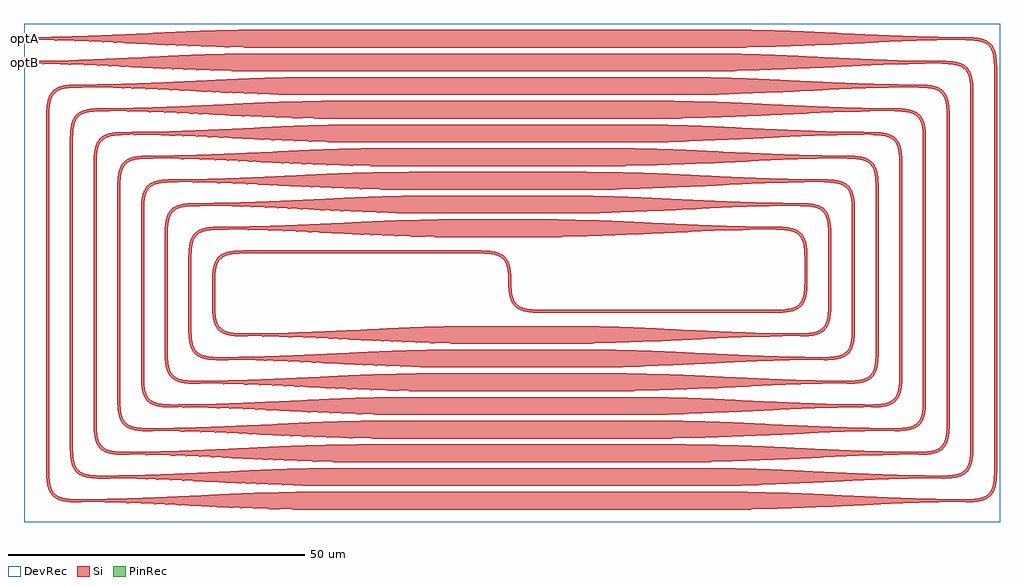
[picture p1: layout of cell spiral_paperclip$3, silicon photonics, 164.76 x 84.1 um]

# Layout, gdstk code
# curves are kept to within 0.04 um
import gdstk
lib = gdstk.Library(unit=1e-6, precision=1e-09)
def R(c, l, rs):  # rectangles x0, y0, x1, y1
    for r in rs: c.add(gdstk.rectangle(r[:2], r[2:], *l))
def P(c, l, *ps):  # polygons
    for p in ps: c.add(gdstk.Polygon(p, *l))
Si = (1, 0)
PinRec = (1, 10)
DevRec = (68, 0)

spiral_paperclip_3 = lib.new_cell('spiral_paperclip$3')
R(spiral_paperclip_3, Si, [(-33,-38.5,37,-35.5), (-29,-34.5,33,-31.5), (-25,-30.5,29,-27.5), (-21,-26.5,25,-23.5), (-17,-22.5,21,-19.5), (-13,-18.5,17,-15.5), (-9,-14.5,13,-11.5), (-5,-10.5,9,-7.5), (-9,7.5,5,10.5), (-13,11.5,9,14.5), (-17,15.5,13,18.5), (-21,19.5,17,22.5), (-25,23.5,21,26.5), (-29,27.5,25,30.5), (-33,31.5,29,34.5), (-42,35.5,33,38.5), (-42,39.5,37,42.5)])
P(spiral_paperclip_3, Si, [(73,-33.25),(73,-32.75),(74.386,-32.696),(75.48,-32.521),(76.304,-32.209),(76.897,-31.746),(77.314,-31.093),(77.555,-30.341),(77.712,-29.206),(77.75,-28),(77.711,33.207),(77.584,34.197),(77.405,34.865),(77.093,35.494),(76.667,35.966),(76.093,36.314),(75.341,36.555),(74.206,36.712),(73,36.75),(73,37.25),(74.431,37.195),(75.603,37.006),(76.543,36.648),(77.177,36.177),(77.647,35.544),(78.005,34.604),(78.194,33.432),(78.25,32),(78.25,-28),(78.195,-29.431),(78.043,-30.449),(77.77,-31.297),(77.433,-31.88),(76.881,-32.432),(76.298,-32.769),(75.45,-33.042),(74.432,-33.194)],
  [(-69,-33.25),(-70.431,-33.195),(-71.603,-33.006),(-72.543,-32.648),(-73.177,-32.177),(-73.647,-31.544),(-74.005,-30.604),(-74.194,-29.432),(-74.25,-28),(-74.25,24),(-74.195,25.431),(-74.043,26.449),(-73.77,27.297),(-73.433,27.88),(-72.881,28.432),(-72.298,28.769),(-71.45,29.042),(-70.432,29.194),(-69,29.25),(-69,28.75),(-70.386,28.696),(-71.48,28.521),(-72.304,28.209),(-72.897,27.746),(-73.314,27.093),(-73.555,26.341),(-73.712,25.206),(-73.75,24),(-73.711,-29.207),(-73.584,-30.197),(-73.405,-30.865),(-73.093,-31.494),(-72.667,-31.966),(-72.093,-32.314),(-71.341,-32.555),(-70.206,-32.712),(-69,-32.75)],
  [(65,-25.25),(65,-24.75),(66.386,-24.696),(67.48,-24.521),(68.304,-24.209),(68.897,-23.746),(69.314,-23.093),(69.555,-22.341),(69.712,-21.206),(69.75,-20),(69.75,24),(69.696,25.386),(69.554,26.342),(69.36,26.982),(69.093,27.494),(68.667,27.966),(68.093,28.314),(67.341,28.555),(66.206,28.712),(65,28.75),(65,29.25),(66.431,29.195),(67.603,29.006),(68.543,28.648),(69.177,28.177),(69.647,27.544),(70.005,26.604),(70.194,25.432),(70.25,24),(70.25,-20),(70.177,-21.613),(70.006,-22.603),(69.711,-23.422),(69.267,-24.082),(68.772,-24.509),(68.168,-24.824),(67.293,-25.074),(66.243,-25.209)],
  [(-61,-25.25),(-62.431,-25.195),(-63.603,-25.006),(-64.543,-24.648),(-65.177,-24.177),(-65.647,-23.544),(-66.005,-22.604),(-66.194,-21.432),(-66.25,-20),(-66.25,16),(-66.156,17.79),(-65.966,18.75),(-65.711,19.422),(-65.267,20.082),(-64.772,20.509),(-64.168,20.824),(-63.293,21.074),(-62.243,21.209),(-61,21.25),(-61,20.75),(-62.386,20.696),(-63.48,20.521),(-64.304,20.209),(-64.897,19.746),(-65.314,19.093),(-65.555,18.341),(-65.712,17.206),(-65.75,16),(-65.75,-20),(-65.659,-21.729),(-65.521,-22.48),(-65.313,-23.094),(-64.965,-23.668),(-64.582,-24.031),(-63.981,-24.361),(-63.196,-24.585),(-62.206,-24.712),(-61,-24.75)],
  [(57,-17.25),(57,-16.75),(58.386,-16.696),(59.48,-16.521),(60.304,-16.209),(60.897,-15.746),(61.314,-15.093),(61.555,-14.341),(61.712,-13.206),(61.75,-12),(61.75,16),(61.637,17.89),(61.485,18.613),(61.262,19.201),(60.965,19.668),(60.582,20.031),(59.981,20.361),(59.196,20.585),(58.206,20.712),(57,20.75),(57,21.25),(58.431,21.195),(59.603,21.006),(60.543,20.648),(61.177,20.177),(61.647,19.544),(62.005,18.604),(62.194,17.432),(62.25,16),(62.25,-12),(62.132,-13.963),(61.923,-14.893),(61.648,-15.543),(61.267,-16.082),(60.772,-16.509),(60.168,-16.824),(59.293,-17.074),(58.243,-17.209)],
  [(-53,-17.25),(-54.431,-17.195),(-55.603,-17.006),(-56.543,-16.648),(-57.177,-16.177),(-57.647,-15.544),(-58.005,-14.604),(-58.194,-13.432),(-58.25,-12),(-58.249,8.221),(-58.195,9.431),(-58.043,10.449),(-57.825,11.167),(-57.51,11.771),(-57.083,12.266),(-56.544,12.647),(-55.894,12.922),(-55.131,13.104),(-54.243,13.209),(-53,13.25),(-53,12.75),(-54.386,12.696),(-55.48,12.521),(-56.304,12.209),(-56.897,11.746),(-57.314,11.093),(-57.555,10.341),(-57.712,9.206),(-57.75,8),(-57.75,-12),(-57.711,-13.207),(-57.584,-14.197),(-57.405,-14.865),(-57.209,-15.304),(-56.896,-15.747),(-56.493,-16.094),(-55.864,-16.406),(-55.196,-16.585),(-54.206,-16.712),(-53,-16.75)],
  [(49,-9.25),(49,-8.75),(50.386,-8.696),(51.48,-8.521),(52.304,-8.209),(52.823,-7.823),(53.21,-7.303),(53.486,-6.612),(53.66,-5.728),(53.741,-4.631),(53.748,8.217),(53.696,9.386),(53.554,10.342),(53.36,10.982),(53.093,11.494),(52.746,11.897),(52.303,12.21),(51.741,12.447),(51.044,12.613),(50.206,12.712),(49,12.75),(49,13.25),(49.647,13.241),(50.613,13.177),(51.449,13.043),(52.167,12.825),(52.66,12.581),(53.177,12.177),(53.509,11.772),(53.769,11.298),(54.005,10.604),(54.176,9.614),(54.245,8.438),(54.241,-4.647),(54.132,-5.963),(53.923,-6.893),(53.581,-7.66),(53.083,-8.266),(52.423,-8.71),(51.604,-9.005),(50.432,-9.194)],
  [(-45,-9.25),(-46.242,-9.21),(-47.292,-9.075),(-48.167,-8.825),(-48.771,-8.51),(-49.266,-8.083),(-49.71,-7.423),(-49.965,-6.751),(-50.155,-5.791),(-50.245,-4.438),(-50.246,0.437),(-50.156,1.79),(-49.966,2.75),(-49.581,3.66),(-48.984,4.351),(-48.168,4.824),(-46.964,5.131),(-45,5.25),(-5,5.25),(-3.387,5.177),(-2.397,5.006),(-1.578,4.711),(-0.918,4.267),(-0.42,3.661),(-0.078,2.894),(0.131,1.964),(0.222,1.05),(0.303,-1.385),(0.445,-2.341),(0.639,-2.981),(0.969,-3.582),(1.417,-4.03),(2.018,-4.36),(2.803,-4.584),(3.793,-4.711),(5,-4.75),(45.217,-4.749),(46.728,-4.66),(47.864,-4.406),(48.667,-3.966),(48.965,-3.668),(49.262,-3.201),(49.554,-2.342),(49.711,-1.207),(49.746,4.427),(49.66,5.728),(49.486,6.612),(49.21,7.303),(48.823,7.823),(48.304,8.209),(47.48,8.521),(46.386,8.696),(45,8.75),(45,9.25),(46.243,9.209),(47.293,9.074),(48.168,8.824),(48.772,8.509),(49.267,8.082),(49.648,7.543),(49.923,6.893),(50.132,5.963),(50.246,4.437),(50.24,-0.648),(50.104,-2.131),(49.769,-3.298),(49.509,-3.772),(49.177,-4.177),(48.771,-4.51),(48.297,-4.77),(47.603,-5.006),(46.963,-5.132),(45.221,-5.249),(5,-5.25),(3.568,-5.194),(2.55,-5.042),(1.702,-4.769),(1.016,-4.351),(0.567,-3.88),(0.175,-3.167),(-0.043,-2.449),(-0.177,-1.613),(-0.363,1.89),(-0.554,2.742),(-0.848,3.401),(-1.254,3.897),(-1.8,4.263),(-2.521,4.522),(-3.441,4.679),(-5,4.75),(-45,4.75),(-46.89,4.637),(-47.865,4.405),(-48.668,3.965),(-48.966,3.667),(-49.21,3.303),(-49.522,2.479),(-49.679,1.559),(-49.746,0.427),(-49.748,-4.217),(-49.659,-5.729),(-49.521,-6.48),(-49.313,-7.094),(-48.965,-7.668),(-48.582,-8.031),(-47.981,-8.361),(-47.196,-8.585),(-46.206,-8.712),(-45,-8.75)],
  [(-49,-13.25),(-50.432,-13.194),(-51.604,-13.005),(-52.423,-12.71),(-53.083,-12.266),(-53.581,-11.66),(-53.923,-10.893),(-54.132,-9.963),(-54.241,-8.647),(-54.245,4.438),(-54.176,5.614),(-54.005,6.604),(-53.769,7.298),(-53.509,7.772),(-53.177,8.177),(-52.66,8.581),(-52.167,8.825),(-51.449,9.043),(-50.613,9.177),(-49.647,9.241),(-49,9.25),(-49,8.75),(-50.206,8.712),(-51.044,8.613),(-51.741,8.447),(-52.303,8.21),(-52.746,7.897),(-53.093,7.494),(-53.36,6.982),(-53.554,6.342),(-53.696,5.386),(-53.748,4.217),(-53.741,-8.631),(-53.66,-9.728),(-53.486,-10.612),(-53.21,-11.303),(-52.823,-11.823),(-52.304,-12.209),(-51.48,-12.521),(-50.386,-12.696),(-49,-12.75)],
  [(53,-13.25),(53,-12.75),(54.385,-12.697),(55.479,-12.522),(56.303,-12.21),(56.896,-11.747),(57.313,-11.094),(57.554,-10.342),(57.711,-9.207),(57.75,-8),(57.749,12.217),(57.712,13.206),(57.585,14.196),(57.406,14.864),(57.21,15.303),(56.897,15.746),(56.494,16.093),(55.865,16.405),(55.197,16.584),(54.207,16.711),(53,16.75),(53,17.25),(54.432,17.194),(55.604,17.005),(56.544,16.647),(57.177,16.177),(57.648,15.543),(58.006,14.603),(58.195,13.431),(58.25,12),(58.248,-8.223),(58.194,-9.432),(58.042,-10.45),(57.824,-11.168),(57.509,-11.772),(57.082,-12.267),(56.543,-12.648),(55.893,-12.923),(55.13,-13.105),(54.242,-13.21)],
  [(-57,-21.25),(-58.432,-21.194),(-59.604,-21.005),(-60.544,-20.647),(-61.177,-20.177),(-61.648,-19.543),(-62.006,-18.603),(-62.195,-17.431),(-62.25,-16),(-62.25,12),(-62.131,13.964),(-61.922,14.894),(-61.647,15.544),(-61.266,16.083),(-60.771,16.51),(-60.167,16.825),(-59.292,17.075),(-58.242,17.21),(-57,17.25),(-57,16.75),(-58.385,16.697),(-59.479,16.522),(-60.303,16.21),(-60.896,15.747),(-61.313,15.094),(-61.554,14.342),(-61.711,13.207),(-61.75,12),(-61.75,-16),(-61.638,-17.889),(-61.486,-18.612),(-61.263,-19.2),(-60.966,-19.667),(-60.583,-20.03),(-59.982,-20.36),(-59.197,-20.584),(-58.207,-20.711),(-57,-20.75)],
  [(61,-21.25),(61,-20.75),(62.385,-20.697),(63.479,-20.522),(64.303,-20.21),(64.896,-19.747),(65.313,-19.094),(65.554,-18.342),(65.711,-17.207),(65.75,-16),(65.75,20),(65.66,21.728),(65.522,22.479),(65.314,23.093),(64.966,23.667),(64.583,24.03),(63.982,24.36),(63.197,24.584),(62.207,24.711),(61,24.75),(61,25.25),(62.432,25.194),(63.604,25.005),(64.544,24.647),(65.177,24.177),(65.648,23.543),(66.006,22.603),(66.195,21.431),(66.25,20),(66.25,-16),(66.155,-17.791),(65.965,-18.751),(65.71,-19.423),(65.266,-20.083),(64.771,-20.51),(64.167,-20.825),(63.292,-21.075),(62.242,-21.21)],
  [(-65,-29.25),(-66.432,-29.194),(-67.604,-29.005),(-68.544,-28.647),(-69.177,-28.177),(-69.648,-27.543),(-70.006,-26.603),(-70.195,-25.431),(-70.25,-24),(-70.25,20),(-70.176,21.614),(-70.005,22.604),(-69.71,23.423),(-69.266,24.083),(-68.771,24.51),(-68.167,24.825),(-67.292,25.075),(-66.242,25.21),(-65,25.25),(-65,24.75),(-66.385,24.697),(-67.479,24.522),(-68.303,24.21),(-68.896,23.747),(-69.313,23.094),(-69.554,22.342),(-69.711,21.207),(-69.75,20),(-69.75,-24),(-69.697,-25.385),(-69.555,-26.341),(-69.361,-26.981),(-69.094,-27.493),(-68.668,-27.965),(-68.094,-28.313),(-67.342,-28.554),(-66.207,-28.711),(-65,-28.75)],
  [(69,-29.25),(69,-28.75),(70.385,-28.697),(71.479,-28.522),(72.303,-28.21),(72.896,-27.747),(73.313,-27.094),(73.554,-26.342),(73.711,-25.207),(73.75,-24),(73.712,29.206),(73.585,30.196),(73.406,30.864),(73.094,31.493),(72.668,31.965),(72.094,32.313),(71.342,32.554),(70.207,32.711),(69,32.75),(69,33.25),(70.432,33.194),(71.604,33.005),(72.544,32.647),(73.177,32.177),(73.648,31.543),(74.006,30.603),(74.195,29.431),(74.25,28),(74.25,-24),(74.194,-25.432),(74.042,-26.45),(73.769,-27.298),(73.432,-27.881),(72.88,-28.433),(72.297,-28.77),(71.449,-29.043),(70.431,-29.195)],
  [(-73,-37.25),(-74.432,-37.194),(-75.604,-37.005),(-76.544,-36.647),(-77.177,-36.177),(-77.648,-35.543),(-78.006,-34.603),(-78.195,-33.431),(-78.25,-32),(-78.25,28),(-78.194,29.432),(-78.042,30.45),(-77.769,31.298),(-77.432,31.881),(-76.88,32.433),(-76.297,32.77),(-75.449,33.043),(-74.431,33.195),(-73,33.25),(-73,32.75),(-74.385,32.697),(-75.479,32.522),(-76.303,32.21),(-76.896,31.747),(-77.313,31.094),(-77.554,30.342),(-77.711,29.207),(-77.75,28),(-77.712,-33.206),(-77.585,-34.196),(-77.406,-34.864),(-77.094,-35.493),(-76.668,-35.965),(-76.094,-36.313),(-75.342,-36.554),(-74.207,-36.711),(-73,-36.75)],
  [(77,-37.25),(77,-36.75),(78.385,-36.697),(79.479,-36.522),(80.303,-36.21),(80.896,-35.747),(81.313,-35.094),(81.554,-34.342),(81.711,-33.207),(81.75,-32),(81.712,37.206),(81.585,38.196),(81.406,38.864),(81.094,39.493),(80.668,39.965),(80.094,40.313),(79.342,40.554),(78.207,40.711),(77,40.75),(77,41.25),(78.432,41.194),(79.604,41.005),(80.544,40.647),(81.177,40.177),(81.648,39.543),(82.006,38.603),(82.195,37.431),(82.25,36),(82.25,-32),(82.209,-33.243),(82.074,-34.293),(81.824,-35.168),(81.432,-35.881),(80.88,-36.433),(80.297,-36.77),(79.449,-37.043),(78.431,-37.195)],
  [(-42,35.5),(-47.28,35.553),(-52.28,35.693),(-73.12,36.605),(-82,36.75),(-82,37.25),(-73.28,37.39),(-52.28,38.307),(-47.28,38.447),(-42,38.5)],
  [(33,35.5),(33,38.5),(38.28,38.447),(43.28,38.307),(64.12,37.395),(73,37.25),(73,36.75),(64.28,36.61),(43.28,35.693),(38.28,35.553)],
  [(33,-34.5),(33,-31.5),(38.28,-31.553),(43.28,-31.693),(64.12,-32.605),(73,-32.75),(73,-33.25),(64.28,-33.39),(43.28,-34.307),(38.28,-34.447)],
  [(-29,-34.5),(-34.28,-34.447),(-39.28,-34.307),(-60.12,-33.395),(-69,-33.25),(-69,-32.75),(-60.28,-32.61),(-39.28,-31.693),(-34.28,-31.553),(-29,-31.5)],
  [(-29,27.5),(-34.28,27.553),(-39.28,27.693),(-60.12,28.605),(-69,28.75),(-69,29.25),(-60.28,29.39),(-39.28,30.307),(-34.28,30.447),(-29,30.5)],
  [(25,27.5),(25,30.5),(30.28,30.447),(35.28,30.307),(56.12,29.395),(65,29.25),(65,28.75),(56.28,28.61),(35.28,27.693),(30.28,27.553)],
  [(25,-26.5),(25,-23.5),(30.28,-23.553),(35.28,-23.693),(56.12,-24.605),(65,-24.75),(65,-25.25),(56.28,-25.39),(35.28,-26.307),(30.28,-26.447)],
  [(-21,-26.5),(-26.28,-26.447),(-31.28,-26.307),(-52.12,-25.395),(-61,-25.25),(-61,-24.75),(-52.28,-24.61),(-31.28,-23.693),(-26.28,-23.553),(-21,-23.5)],
  [(-21,19.5),(-26.28,19.553),(-31.28,19.693),(-52.12,20.605),(-61,20.75),(-61,21.25),(-52.28,21.39),(-31.28,22.307),(-26.28,22.447),(-21,22.5)],
  [(17,19.5),(17,22.5),(22.28,22.447),(27.28,22.307),(48.12,21.395),(57,21.25),(57,20.75),(48.28,20.61),(27.28,19.693),(22.28,19.553)],
  [(17,-18.5),(17,-15.5),(22.28,-15.553),(27.28,-15.693),(48.12,-16.605),(57,-16.75),(57,-17.25),(48.28,-17.39),(27.28,-18.307),(22.28,-18.447)],
  [(-13,-18.5),(-18.28,-18.447),(-23.28,-18.307),(-44.12,-17.395),(-53,-17.25),(-53,-16.75),(-44.28,-16.61),(-23.28,-15.693),(-18.28,-15.553),(-13,-15.5)],
  [(-13,11.5),(-18.28,11.553),(-23.28,11.693),(-44.12,12.605),(-53,12.75),(-53,13.25),(-44.28,13.39),(-23.28,14.307),(-18.28,14.447),(-13,14.5)],
  [(9,11.5),(9,14.5),(14.28,14.447),(19.28,14.307),(40.12,13.395),(49,13.25),(49,12.75),(40.28,12.61),(19.28,11.693),(14.28,11.553)],
  [(9,-10.5),(9,-7.5),(14.28,-7.553),(19.28,-7.693),(40.12,-8.605),(49,-8.75),(49,-9.25),(40.28,-9.39),(19.28,-10.307),(14.28,-10.447)],
  [(-5,-10.5),(-10.28,-10.447),(-15.28,-10.307),(-36.12,-9.395),(-45,-9.25),(-45,-8.75),(-36.28,-8.61),(-15.28,-7.693),(-10.28,-7.553),(-5,-7.5)],
  [(5,7.5),(5,10.5),(10.28,10.447),(15.28,10.307),(36.12,9.395),(45,9.25),(45,8.75),(36.28,8.61),(15.28,7.693),(10.28,7.553)],
  [(-9,7.5),(-14.28,7.553),(-19.28,7.693),(-40.12,8.605),(-49,8.75),(-49,9.25),(-40.28,9.39),(-19.28,10.307),(-14.28,10.447),(-9,10.5)],
  [(-9,-14.5),(-14.28,-14.447),(-19.28,-14.307),(-40.12,-13.395),(-49,-13.25),(-49,-12.75),(-40.28,-12.61),(-19.28,-11.693),(-14.28,-11.553),(-9,-11.5)],
  [(13,-14.5),(13,-11.5),(18.28,-11.553),(23.28,-11.693),(44.12,-12.605),(53,-12.75),(53,-13.25),(44.28,-13.39),(23.28,-14.307),(18.28,-14.447)],
  [(13,15.5),(13,18.5),(18.28,18.447),(23.28,18.307),(44.12,17.395),(53,17.25),(53,16.75),(44.28,16.61),(23.28,15.693),(18.28,15.553)],
  [(-17,15.5),(-22.28,15.553),(-27.28,15.693),(-48.12,16.605),(-57,16.75),(-57,17.25),(-48.28,17.39),(-27.28,18.307),(-22.28,18.447),(-17,18.5)],
  [(-17,-22.5),(-22.28,-22.447),(-27.28,-22.307),(-48.12,-21.395),(-57,-21.25),(-57,-20.75),(-48.28,-20.61),(-27.28,-19.693),(-22.28,-19.553),(-17,-19.5)],
  [(21,-22.5),(21,-19.5),(26.28,-19.553),(31.28,-19.693),(52.12,-20.605),(61,-20.75),(61,-21.25),(52.28,-21.39),(31.28,-22.307),(26.28,-22.447)],
  [(21,23.5),(21,26.5),(26.28,26.447),(31.28,26.307),(52.12,25.395),(61,25.25),(61,24.75),(52.28,24.61),(31.28,23.693),(26.28,23.553)],
  [(-25,23.5),(-30.28,23.553),(-35.28,23.693),(-56.12,24.605),(-65,24.75),(-65,25.25),(-56.28,25.39),(-35.28,26.307),(-30.28,26.447),(-25,26.5)],
  [(-25,-30.5),(-30.28,-30.447),(-35.28,-30.307),(-56.12,-29.395),(-65,-29.25),(-65,-28.75),(-56.28,-28.61),(-35.28,-27.693),(-30.28,-27.553),(-25,-27.5)],
  [(29,-30.5),(29,-27.5),(34.28,-27.553),(39.28,-27.693),(60.12,-28.605),(69,-28.75),(69,-29.25),(60.28,-29.39),(39.28,-30.307),(34.28,-30.447)],
  [(29,31.5),(29,34.5),(34.28,34.447),(39.28,34.307),(60.12,33.395),(69,33.25),(69,32.75),(60.28,32.61),(39.28,31.693),(34.28,31.553)],
  [(-33,31.5),(-38.28,31.553),(-43.28,31.693),(-64.12,32.605),(-73,32.75),(-73,33.25),(-64.28,33.39),(-43.28,34.307),(-38.28,34.447),(-33,34.5)],
  [(-33,-38.5),(-38.28,-38.447),(-43.28,-38.307),(-64.12,-37.395),(-73,-37.25),(-73,-36.75),(-64.28,-36.61),(-43.28,-35.693),(-38.28,-35.553),(-33,-35.5)],
  [(37,-38.5),(37,-35.5),(42.28,-35.553),(47.28,-35.693),(68.12,-36.605),(77,-36.75),(77,-37.25),(68.28,-37.39),(47.28,-38.307),(42.28,-38.447)],
  [(37,39.5),(37,42.5),(42.28,42.447),(47.28,42.307),(68.12,41.395),(77,41.25),(77,40.75),(68.28,40.61),(47.28,39.693),(42.28,39.553)],
  [(-42,39.5),(-47.28,39.553),(-52.28,39.693),(-73.12,40.605),(-82,40.75),(-82,41.25),(-73.28,41.39),(-52.28,42.307),(-47.28,42.447),(-42,42.5)])
R(spiral_paperclip_3, DevRec, [(-82,-40.6,82.75,43.5)])
spiral_paperclip_3.add(gdstk.FlexPath([(-81.99,41),(-82.01,41)], 0.5, ends="flush", simple_path=True, layer=1, datatype=10))  # PinRec
spiral_paperclip_3.add(gdstk.FlexPath([(-81.99,37),(-82.01,37)], 0.5, ends="flush", simple_path=True, layer=1, datatype=10))  # PinRec
spiral_paperclip_3.add(gdstk.Label('optA', (-82,41), layer=1, texttype=10))
spiral_paperclip_3.add(gdstk.Label('optB', (-82,37), layer=1, texttype=10))

lib.write_gds('spiral_paperclip_3.gds')
